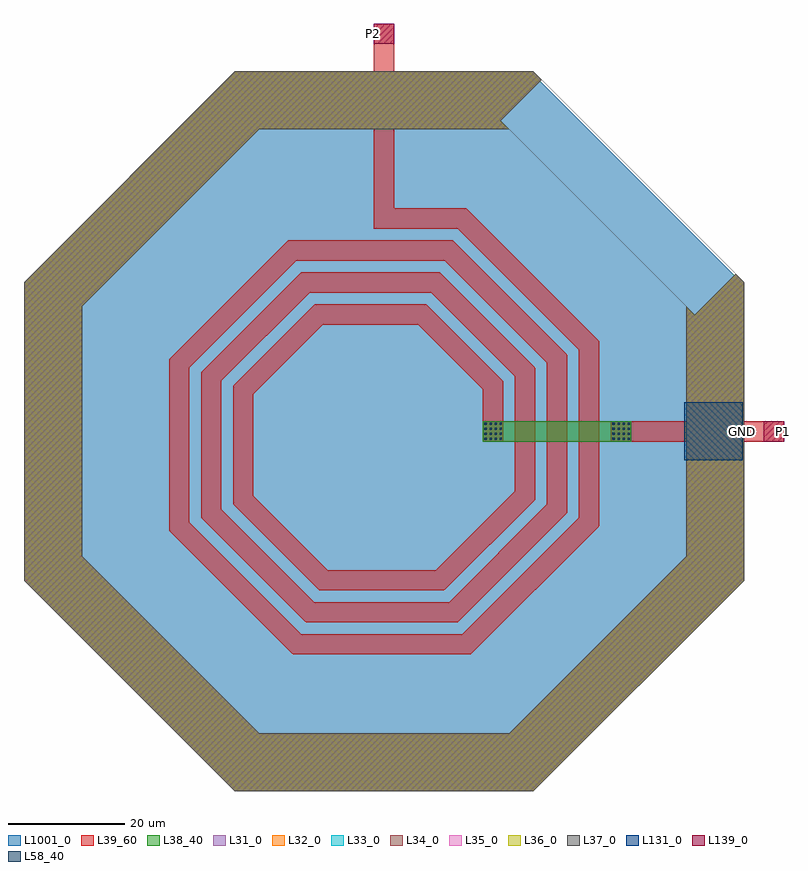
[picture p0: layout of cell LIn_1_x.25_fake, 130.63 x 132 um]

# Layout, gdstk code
import gdstk
lib = gdstk.Library(unit=1e-6, precision=1e-09)
def R(c, l, rs):  # rectangles x0, y0, x1, y1
    for r in rs: c.add(gdstk.rectangle(r[:2], r[2:], *l))
def A(c, l, x, y, w, h, nx, ny, dx, dy):  # array of equal rectangles
    R(c, l, [(x+i*dx, y+j*dy, x+i*dx+w, y+j*dy+h) for i in range(nx) for j in range(ny)])
def P(c, l, *ps):  # polygons
    for p in ps: c.add(gdstk.Polygon(p, *l))
L31_0 = (31, 0)
L32_0 = (32, 0)
L33_0 = (33, 0)
L34_0 = (34, 0)
L35_0 = (35, 0)
L36_0 = (36, 0)
L37_0 = (37, 0)
L38_40 = (38, 40)
L39_60 = (39, 60)
L58_40 = (58, 40)
L131_0 = (131, 0)
L139_0 = (139, 0)
L1001_0 = (1001, 0)

lin_1_x_25_fake = lib.new_cell('LIn_1_x.25_fake')
P(lin_1_x_25_fake, L31_0, [(53.37,20.036),(60.441,27.107),(25.642,61.906),(-25.642,61.906),(-61.906,25.642),(-61.906,-25.642),(-25.642,-61.906),(25.642,-61.906),(61.906,-25.642),(61.906,25.642),(27.107,60.441),(20.036,53.37),(51.906,21.5),(51.906,-21.5),(21.5,-51.906),(-21.5,-51.906),(-51.906,-21.5),(-51.906,21.5),(-21.5,51.906),(21.5,51.906)])
P(lin_1_x_25_fake, L32_0, [(53.37,20.036),(60.441,27.107),(25.642,61.906),(-25.642,61.906),(-61.906,25.642),(-61.906,-25.642),(-25.642,-61.906),(25.642,-61.906),(61.906,-25.642),(61.906,25.642),(27.107,60.441),(20.036,53.37),(51.906,21.5),(51.906,-21.5),(21.5,-51.906),(-21.5,-51.906),(-51.906,-21.5),(-51.906,21.5),(-21.5,51.906),(21.5,51.906)])
P(lin_1_x_25_fake, L33_0, [(53.37,20.036),(60.441,27.107),(25.642,61.906),(-25.642,61.906),(-61.906,25.642),(-61.906,-25.642),(-25.642,-61.906),(25.642,-61.906),(61.906,-25.642),(61.906,25.642),(27.107,60.441),(20.036,53.37),(51.906,21.5),(51.906,-21.5),(21.5,-51.906),(-21.5,-51.906),(-51.906,-21.5),(-51.906,21.5),(-21.5,51.906),(21.5,51.906)])
P(lin_1_x_25_fake, L34_0, [(53.37,20.036),(60.441,27.107),(25.642,61.906),(-25.642,61.906),(-61.906,25.642),(-61.906,-25.642),(-25.642,-61.906),(25.642,-61.906),(61.906,-25.642),(61.906,25.642),(27.107,60.441),(20.036,53.37),(51.906,21.5),(51.906,-21.5),(21.5,-51.906),(-21.5,-51.906),(-51.906,-21.5),(-51.906,21.5),(-21.5,51.906),(21.5,51.906)])
P(lin_1_x_25_fake, L35_0, [(53.37,20.036),(60.441,27.107),(25.642,61.906),(-25.642,61.906),(-61.906,25.642),(-61.906,-25.642),(-25.642,-61.906),(25.642,-61.906),(61.906,-25.642),(61.906,25.642),(27.107,60.441),(20.036,53.37),(51.906,21.5),(51.906,-21.5),(21.5,-51.906),(-21.5,-51.906),(-51.906,-21.5),(-51.906,21.5),(-21.5,51.906),(21.5,51.906)])
P(lin_1_x_25_fake, L36_0, [(53.37,20.036),(60.441,27.107),(25.642,61.906),(-25.642,61.906),(-61.906,25.642),(-61.906,-25.642),(-25.642,-61.906),(25.642,-61.906),(61.906,-25.642),(61.906,25.642),(27.107,60.441),(20.036,53.37),(51.906,21.5),(51.906,-21.5),(21.5,-51.906),(-21.5,-51.906),(-51.906,-21.5),(-51.906,21.5),(-21.5,51.906),(21.5,51.906)])
P(lin_1_x_25_fake, L37_0, [(53.37,20.036),(60.441,27.107),(25.642,61.906),(-25.642,61.906),(-61.906,25.642),(-61.906,-25.642),(-25.642,-61.906),(25.642,-61.906),(61.906,-25.642),(61.906,25.642),(27.107,60.441),(20.036,53.37),(51.906,21.5),(51.906,-21.5),(21.5,-51.906),(-21.5,-51.906),(-51.906,-21.5),(-51.906,21.5),(-21.5,51.906),(21.5,51.906)])
R(lin_1_x_25_fake, L38_40, [(16.97,-1.75,42.47,1.75)])
P(lin_1_x_25_fake, L38_40, [(53.37,20.036),(60.441,27.107),(25.642,61.906),(-25.642,61.906),(-61.906,25.642),(-61.906,-25.642),(-25.642,-61.906),(25.642,-61.906),(61.906,-25.642),(61.906,25.642),(27.107,60.441),(20.036,53.37),(51.906,21.5),(51.906,-21.5),(21.5,-51.906),(-21.5,-51.906),(-51.906,-21.5),(-51.906,21.5),(-21.5,51.906),(21.5,51.906)])
R(lin_1_x_25_fake, L39_60, [(38.97,-1.75,68.72,1.75), (-1.75,34.845,1.75,70.095)])
P(lin_1_x_25_fake, L39_60, [(16.97,-1.75),(20.47,-1.75),(20.47,8.645),(7.27,21.845),(-11.965,21.845),(-25.97,7.84),(-25.97,-12.535),(-11.16,-27.345),(10.355,-27.345),(25.97,-11.73),(25.97,10.925),(9.55,27.345),(-14.245,27.345),(-31.47,10.12),(-31.47,-14.815),(-13.44,-32.845),(12.63,-32.845),(31.47,-14.005),(31.47,13.2),(11.825,32.845),(-16.52,32.845),(-36.97,12.395),(-36.97,-17.09),(-15.715,-38.345),(14.91,-38.345),(36.97,-16.285),(36.97,15.48),(14.105,38.345),(0,38.345),(0,34.845),(12.655,34.845),(33.47,14.03),(33.47,-14.835),(13.46,-34.845),(-14.265,-34.845),(-33.47,-15.64),(-33.47,10.945),(-15.07,29.345),(10.375,29.345),(27.97,11.75),(27.97,-12.555),(11.18,-29.345),(-11.99,-29.345),(-27.97,-13.365),(-27.97,8.67),(-12.795,23.845),(8.1,23.845),(22.47,9.475),(22.47,-10.28),(8.905,-23.845),(-9.71,-23.845),(-22.47,-11.085),(-22.47,6.39),(-10.515,18.345),(5.82,18.345),(16.97,7.195)],
  [(53.37,20.036),(60.441,27.107),(25.642,61.906),(-25.642,61.906),(-61.906,25.642),(-61.906,-25.642),(-25.642,-61.906),(25.642,-61.906),(61.906,-25.642),(61.906,25.642),(27.107,60.441),(20.036,53.37),(51.906,21.5),(51.906,-21.5),(21.5,-51.906),(-21.5,-51.906),(-51.906,-21.5),(-51.906,21.5),(-21.5,51.906),(21.5,51.906)])
A(lin_1_x_25_fake, L58_40, 17.239, -1.48, 0.35, 0.35, 4, 4, 0.87, 0.87)
A(lin_1_x_25_fake, L58_40, 39.239, -1.48, 0.35, 0.35, 4, 4, 0.87, 0.87)
R(lin_1_x_25_fake, L131_0, [(51.595,-5,61.595,5)])
R(lin_1_x_25_fake, L139_0, [(65.22,-1.75,68.72,1.75), (-1.75,66.595,1.75,70.095)])
P(lin_1_x_25_fake, L1001_0, [(61.525,25.485),(25.485,61.525),(-25.485,61.525),(-61.525,25.485),(-61.525,-25.485),(-25.485,-61.525),(25.485,-61.525),(61.525,-25.485)],
  [(61.525,25.485),(25.485,61.525),(-25.485,61.525),(-61.525,25.485),(-61.525,-25.485),(-25.485,-61.525),(25.485,-61.525),(61.525,-25.485)],
  [(61.525,25.485),(25.485,61.525),(-25.485,61.525),(-61.525,25.485),(-61.525,-25.485),(-25.485,-61.525),(25.485,-61.525),(61.525,-25.485)],
  [(61.525,25.485),(25.485,61.525),(-25.485,61.525),(-61.525,25.485),(-61.525,-25.485),(-25.485,-61.525),(25.485,-61.525),(61.525,-25.485)],
  [(61.525,25.485),(25.485,61.525),(-25.485,61.525),(-61.525,25.485),(-61.525,-25.485),(-25.485,-61.525),(25.485,-61.525),(61.525,-25.485)],
  [(61.525,25.485),(25.485,61.525),(-25.485,61.525),(-61.525,25.485),(-61.525,-25.485),(-25.485,-61.525),(25.485,-61.525),(61.525,-25.485)],
  [(61.525,25.485),(25.485,61.525),(-25.485,61.525),(-61.525,25.485),(-61.525,-25.485),(-25.485,-61.525),(25.485,-61.525),(61.525,-25.485)],
  [(61.525,25.485),(25.485,61.525),(-25.485,61.525),(-61.525,25.485),(-61.525,-25.485),(-25.485,-61.525),(25.485,-61.525),(61.525,-25.485)],
  [(61.525,25.485),(25.485,61.525),(-25.485,61.525),(-61.525,25.485),(-61.525,-25.485),(-25.485,-61.525),(25.485,-61.525),(61.525,-25.485)])
lin_1_x_25_fake.add(gdstk.Label('P1', (68.719,0), layer=139, texttype=0))
lin_1_x_25_fake.add(gdstk.Label('P2', (-1.75,68.344), layer=139, texttype=0))
lin_1_x_25_fake.add(gdstk.Label('GND', (61.594,0), layer=131, texttype=0))

lib.write_gds('LIn_1_x.25_fake.gds')
